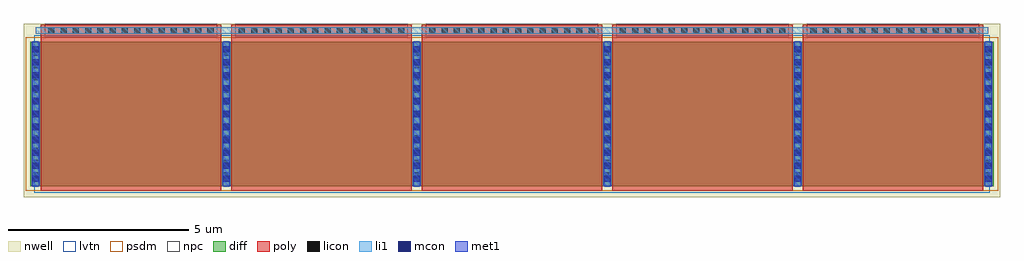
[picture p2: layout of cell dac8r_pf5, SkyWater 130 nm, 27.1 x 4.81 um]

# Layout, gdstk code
import gdstk
lib = gdstk.Library(unit=1e-6, precision=1e-09)
def R(c, l, rs):  # rectangles x0, y0, x1, y1
    for r in rs: c.add(gdstk.rectangle(r[:2], r[2:], *l))
def A(c, l, x, y, w, h, nx, ny, dx, dy):  # array of equal rectangles
    R(c, l, [(x+i*dx, y+j*dy, x+i*dx+w, y+j*dy+h) for i in range(nx) for j in range(ny)])
nwell = (64, 20)
diff = (65, 20)
poly = (66, 20)
licon = (66, 44)
li1 = (67, 20)
mcon = (67, 44)
met1 = (68, 20)
psdm = (94, 20)
npc = (95, 20)
lvtn = (125, 44)

dac8r_pf5 = lib.new_cell('dac8r_pf5')
R(dac8r_pf5, nwell, [(-13.55,-2.49,13.55,2.32)])
R(dac8r_pf5, diff, [(-13.37,-2.18,13.37,1.82)])
A(dac8r_pf5, poly, -13.08, -2.31, 5, 4.615, 5, 1, 5.29, 0)
A(dac8r_pf5, licon, -13.31, -1.965, 0.17, 0.17, 6, 11, 5.29, 0.34)
A(dac8r_pf5, licon, -12.875, 2.055, 0.17, 0.17, 14, 1, 0.34, 0)
A(dac8r_pf5, licon, -7.585, 2.055, 0.17, 0.17, 14, 1, 0.34, 0)
A(dac8r_pf5, licon, -2.295, 2.055, 0.17, 0.17, 14, 1, 0.34, 0)
A(dac8r_pf5, licon, 2.995, 2.055, 0.17, 0.17, 14, 1, 0.34, 0)
A(dac8r_pf5, licon, 8.285, 2.055, 0.17, 0.17, 14, 1, 0.34, 0)
A(dac8r_pf5, li1, -13.31, -2.2, 0.17, 4.04, 6, 1, 5.29, 0)
R(dac8r_pf5, li1, [(-13.225,2.055,13.225,2.225)])
A(dac8r_pf5, mcon, -13.31, -2.065, 0.17, 0.17, 6, 11, 5.29, 0.36)
A(dac8r_pf5, met1, -13.34, -2.18, 0.23, 4, 6, 1, 5.29, 0)
R(dac8r_pf5, psdm, [(-13.495,-2.305,13.495,1.945)])
A(dac8r_pf5, npc, -12.975, 1.955, 4.79, 0.37, 5, 1, 5.29, 0)
R(dac8r_pf5, lvtn, [(-13.26,-2.36,13.26,2)])

lib.write_gds('dac8r_pf5.gds')
